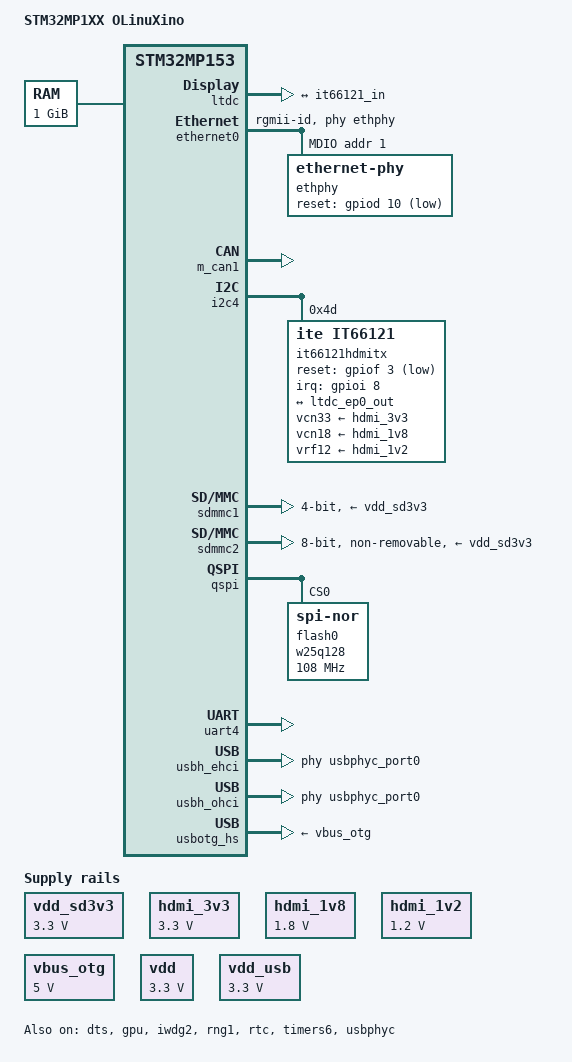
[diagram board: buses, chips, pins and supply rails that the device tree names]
// SPDX-License-Identifier: (GPL-2.0+ OR BSD-3-Clause)
/*
 * Copyright (C) STMicroelectronics 2017 - All Rights Reserved
 * Author: Ludovic Barre <ludovic.barre@st.com> for STMicroelectronics.
 */
/dts-v1/;

#include "stm32mp157.dtsi"
#include "stm32mp15xc.dtsi"
#include "stm32mp15-pinctrl.dtsi"
#include "stm32mp15xxaa-pinctrl.dtsi"

#include <dt-bindings/gpio/gpio.h>
#include <dt-bindings/mfd/st,stpmic1.h>

/ {
	model = "STM32MP1XX OLinuXino";
	compatible = "olimex,stm32mp1xx-olinuxino" , "st,stm32mp153";
	aliases {
		ethernet0 = &ethernet0;
		serial0 = &uart4;
	};

	chosen {
		stdout-path = "serial0:115200n8";
	};

	memory@c0000000 {
		device_type = "memory";
		reg = <0xC0000000 0x40000000>;
	};

	reserved-memory {
		#address-cells = <1>;
		#size-cells = <1>;
		ranges;

		mcuram2: mcuram2@10000000 {
			compatible = "shared-dma-pool";
			reg = <0x10000000 0x40000>;
			no-map;
		};

		vdev0vring0: vdev0vring0@10040000 {
			compatible = "shared-dma-pool";
			reg = <0x10040000 0x1000>;
			no-map;
		};

		vdev0vring1: vdev0vring1@10041000 {
			compatible = "shared-dma-pool";
			reg = <0x10041000 0x1000>;
			no-map;
		};

		vdev0buffer: vdev0buffer@10042000 {
			compatible = "shared-dma-pool";
			reg = <0x10042000 0x4000>;
			no-map;
		};

		mcuram: mcuram@30000000 {
			compatible = "shared-dma-pool";
			reg = <0x30000000 0x40000>;
			no-map;
		};

		retram: retram@38000000 {
			compatible = "shared-dma-pool";
			reg = <0x38000000 0x10000>;
			no-map;
		};

		gpu_reserved: gpu@e8000000 {
			reg = <0xe8000000 0x8000000>;
			no-map;
		};
	};

	aliases {
		serial0 = &uart4;
	};
	vdd_sd3v3: regulator_vdd {
		compatible = "regulator-fixed";
		regulator-name = "vdd-sd";
		regulator-min-microvolt = <3300000>;
		regulator-max-microvolt = <3300000>;
		enable-active-high;
		regulator-always-on;
		regulator-initial-mode = <0>;
		//regulator-over-current-protection;
	};

	hdmi_3v3: regulator_hdmi {
		compatible = "regulator-fixed";
		regulator-name = "vdd-hdmi";
		regulator-min-microvolt = <3300000>;
		regulator-max-microvolt = <3300000>;
		enable-active-high;
		regulator-always-on;
		regulator-initial-mode = <0>;
		//regulator-over-current-protection;
	};

	hdmi_1v8: regulator_hdmi1v8 {
		compatible = "regulator-fixed";
		regulator-name = "vdd-hdmi1v8";
		regulator-min-microvolt = <1800000>;
		regulator-max-microvolt = <1800000>;
		enable-active-high;
		regulator-always-on;
		regulator-initial-mode = <0>;
		//regulator-over-current-protection;
	};

	hdmi_1v2: regulator_hdmi1v2 {
		compatible = "regulator-fixed";
		regulator-name = "vdd-hdmi1v2";
		regulator-min-microvolt = <1200000>;
		regulator-max-microvolt = <1200000>;
		enable-active-high;
		regulator-always-on;
		regulator-initial-mode = <0>;
		//regulator-over-current-protection;
	};

	vbus_otg: regulator_otg {
		compatible = "regulator-fixed";
		regulator-name = "vdd-otg";
		regulator-min-microvolt = <5000000>;
		regulator-max-microvolt = <5000000>;
		enable-active-high;
		regulator-always-on;
		regulator-initial-mode = <0>;
		//regulator-over-current-protection;
	};

	vdd: vdd {
		compatible = "regulator-fixed";
		regulator-name = "vdd";
		regulator-min-microvolt = <3300000>;
		regulator-max-microvolt = <3300000>;
		enable-active-high;
		regulator-always-on;
		regulator-initial-mode = <0>;
		//regulator-over-current-protection;
	};

	vdd_usb: vdd-usb {
		compatible = "regulator-fixed";
		regulator-name = "vdd-usb";
		regulator-min-microvolt = <3300000>;
		regulator-max-microvolt = <3300000>;
		enable-active-high;
		regulator-always-on;
		regulator-initial-mode = <0>;
		//regulator-over-current-protection;
	};

	panel {
		compatible = "olimex,lcd-olinuxino-10";
		status = "disabled";

		enable-gpios = <&gpiof 13 GPIO_ACTIVE_HIGH>;
		//backlight = <&backlight>;

		port {
			panel_in_tcon0: endpoint {
				remote-endpoint = <&ltdc_ep0_out>;
			};
		};
	};
};

&dts {
	status = "okay";
};

&ltdc {
	pinctrl-names = "default", "sleep";
	pinctrl-0 = <&ltdc_pins_b>;
	pinctrl-1 = <&ltdc_sleep_pins_b>;
	status = "okay";

	port {
		#address-cells = <1>;
		#size-cells = <0>;

		ltdc_ep0_out: endpoint@0 {
			reg = <0>;
			remote-endpoint = <&it66121_in>;
		};
	};
};

&ethernet0 {
	status = "okay";
	pinctrl-0 = <&ethernet0_rgmii_pins_a>;
	pinctrl-1 = <&ethernet0_rgmii_sleep_pins_a>;
	pinctrl-names = "default", "sleep";
	phy-mode = "rgmii-id";
	phy-handle = <&ethphy>;

	mdio0 {
		compatible = "snps,dwmac-mdio";
		#address-cells = <1>;
		#size-cells = <0>;
		ethphy: ethernet-phy@1 {
			reg = <1>;
			reset-gpios = <&gpiod 10 GPIO_ACTIVE_LOW>; /* ETH_RST# */
			reset-assert-us = <10000>;
			reset-deassert-us = <300>;
			micrel,force-master;
		};
	};
};

&gpu {
	contiguous-area = <&gpu_reserved>;
	status = "okay";
};

&m_can1 {
	pinctrl-names = "default", "sleep";
	pinctrl-0 = <&m_can1_pins_a>;
	pinctrl-1 = <&m_can1_sleep_pins_a>;
	status = "okay";
};

&i2c4 {
	pinctrl-names = "default";
	pinctrl-0 = <&i2c4_pins_a>;
	i2c-scl-rising-time-ns = <185>;
	i2c-scl-falling-time-ns = <20>;
	status = "okay";
	/* spare dmas for other usage */
	/delete-property/dmas;
	/delete-property/dma-names;

	it66121hdmitx: it66121hdmitx@4d {
		compatible = "ite,it66121";
		interrupts = <8 2>;
		interrupt-parent = <&gpioi>;
		vcn33-supply = <&hdmi_3v3>;
		vcn18-supply = <&hdmi_1v8>;
		vrf12-supply = <&hdmi_1v2>;
		reset-gpios = <&gpiof 3  GPIO_ACTIVE_LOW >;
		reg = <0x4d>;
		pclk-dual-edge;

		port {
			it66121_in: endpoint {
				remote-endpoint = <&ltdc_ep0_out>;
			};
		};
	};
};

&ipcc {
	status = "okay";
};

&iwdg2 {
	timeout-sec = <32>;
	status = "okay";
};

&m4_rproc {
	memory-region = <&retram>, <&mcuram>, <&mcuram2>, <&vdev0vring0>,
			<&vdev0vring1>, <&vdev0buffer>;
	mboxes = <&ipcc 0>, <&ipcc 1>, <&ipcc 2>;
	mbox-names = "vq0", "vq1", "shutdown";
	interrupt-parent = <&exti>;
	interrupts = <68 1>;
	status = "disabled";
};

&pwr_regulators {
	vdd-supply = <&vdd>;
	vdd_3v3_usbfs-supply = <&vdd_usb>;
};

&rng1 {
	status = "okay";
};

&rtc {
	status = "okay";
};

&sdmmc1 {
	pinctrl-names = "default", "opendrain", "sleep";
	pinctrl-0 = <&sdmmc1_b4_pins_a &sdmmc1_dir_pins_a>;
	pinctrl-1 = <&sdmmc1_b4_od_pins_a &sdmmc1_dir_pins_a>;
	pinctrl-2 = <&sdmmc1_b4_sleep_pins_a &sdmmc1_dir_sleep_pins_a>;
	broken-cd;
	st,neg-edge;
	bus-width = <4>;
	vmmc-supply = <&vdd_sd3v3>;
	vqmmc-supply = <&vdd_sd3v3>;
	status = "okay";
};

&sdmmc2 {
	pinctrl-names = "default", "opendrain", "sleep";
	pinctrl-0 = <&sdmmc2_b4_pins_a &sdmmc2_d47_pins_a>;
	pinctrl-1 = <&sdmmc2_b4_od_pins_a &sdmmc2_d47_pins_a>;
	pinctrl-2 = <&sdmmc2_b4_sleep_pins_a &sdmmc2_d47_sleep_pins_a>;
	non-removable;
	st,neg-edge;
	bus-width = <8>;
	vmmc-supply = <&vdd_sd3v3>;
	vqmmc-supply = <&vdd_sd3v3>;
	status = "okay";
};

&qspi {
	pinctrl-names = "default", "sleep";
	pinctrl-0 = <&qspi_clk_pins_a &qspi_bk1_pins_a &qspi_bk2_pins_a>;
	pinctrl-1 = <&qspi_clk_sleep_pins_a &qspi_bk1_sleep_pins_a &qspi_bk2_sleep_pins_a>;
	reg = <0x58003000 0x1000>, <0x70000000 0x4000000>;
	#address-cells = <1>;
	#size-cells = <0>;
	status = "okay";

	flash0: w25q128@0 {
		compatible = "jedec,spi-nor", "winbond,w25q128";
		reg = <0>;
		spi-rx-bus-width = <4>;
		spi-max-frequency = <108000000>;
		#address-cells = <1>;
		#size-cells = <1>;
	};
};

&timers6 {
	status = "okay";
	/* spare dmas for other usage */
	/delete-property/dmas;
	/delete-property/dma-names;
	timer@5 {
		status = "okay";
	};
};

&uart4 {
	pinctrl-names = "default";
	pinctrl-0 = <&uart4_pins_a>;
	status = "okay";
};

&usbphyc_port0 {
	phy-supply = <&vdd_usb>;
	vdda1v1-supply = <&reg11>;
	vdda1v8-supply = <&reg18>;
};

&usbphyc_port1 {
	phy-supply = <&vdd_usb>;
	vdda1v1-supply = <&reg11>;
	vdda1v8-supply = <&reg18>;
};

&usbh_ehci {
	phys = <&usbphyc_port0>, <&usbphyc_port1 1>;
	phy-names = "usb", "usb";
	status = "okay";
};

&usbh_ohci {
	phys = <&usbphyc_port0>, <&usbphyc_port1 1>;
	phy-names = "usb", "usb";
	status = "okay";
};

&usbotg_hs {
	compatible = "st,stm32mp15-fsotg", "snps,dwc2";			/* Use full-speed integrated PHY */
	pinctrl-names = "default";
	pinctrl-0 = <&usbotg_hs_pins_a &usbotg_fs_dp_dm_pins_a>;	/* configure OTG ID and full-speed data pins */
	vbus-supply = <&vbus_otg>;					/* voltage regulator to supply Vbus */
	status = "okay";
};

&usbphyc {
	status = "okay";
};
